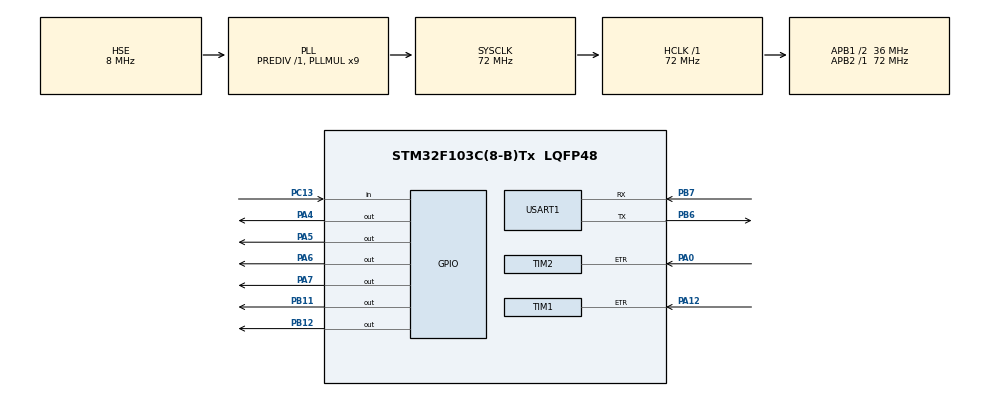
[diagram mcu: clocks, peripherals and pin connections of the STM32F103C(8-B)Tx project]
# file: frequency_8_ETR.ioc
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Mcu.Family=STM32F1
Mcu.Name=STM32F103C(8-B)Tx
Mcu.Package=LQFP48
NVIC.PriorityGroup=NVIC_PRIORITYGROUP_4
NVIC.TIM1_UP_IRQn=true\:0\:0\:false\:false\:true\:true\:true\:true
NVIC.TIM2_IRQn=true\:0\:0\:false\:false\:true\:true\:true\:true
NVIC.TIM3_IRQn=true\:0\:0\:false\:false\:true\:true\:true\:true
PA0-WKUP.Signal=S_TIM2_CH1_ETR
PA12.Signal=S_TIM1_ETR
PA13.Mode=Serial_Wire
PA13.Signal=SYS_JTMS-SWDIO
PA14.Mode=Serial_Wire
PA14.Signal=SYS_JTCK-SWCLK
PA4.Signal=GPIO_Output
PA5.Signal=GPIO_Output
PA6.Signal=GPIO_Output
PA7.Signal=GPIO_Output
PB11.Signal=GPIO_Output
PB12.Signal=GPIO_Output
PB6.Mode=Asynchronous
PB6.Signal=USART1_TX
PB7.Mode=Asynchronous
PB7.Signal=USART1_RX
PC13-TAMPER-RTC.GPIO_PuPd=GPIO_PULLUP
PC13-TAMPER-RTC.Signal=GPIO_Input
PD0-OSC_IN.Mode=HSE-External-Oscillator
PD0-OSC_IN.Signal=RCC_OSC_IN
PD1-OSC_OUT.Mode=HSE-External-Oscillator
PD1-OSC_OUT.Signal=RCC_OSC_OUT
ProjectManager.HeapSize=0x200
ProjectManager.StackSize=0x400
ProjectManager.TargetToolchain=STM32CubeIDE
RCC.AHBFreq_Value=72000000
RCC.APB1CLKDivider=RCC_HCLK_DIV2
RCC.APB1Freq_Value=36000000
RCC.APB1TimFreq_Value=72000000
RCC.APB2Freq_Value=72000000
RCC.APB2TimFreq_Value=72000000
RCC.HCLKFreq_Value=72000000
RCC.PLLMUL=RCC_PLL_MUL9
RCC.PLLSourceVirtual=RCC_PLLSOURCE_HSE
RCC.SYSCLKFreq_VALUE=72000000
RCC.SYSCLKSource=RCC_SYSCLKSOURCE_PLLCLK
RCC.USBFreq_Value=72000000
SH.S_TIM1_ETR.0=TIM1_ETR,ClockSourceETR_Mode2
SH.S_TIM2_CH1_ETR.0=TIM2_ETR,ClockSourceETR_Mode2
TIM3.Period=999
TIM3.Prescaler=7199
TIM3.TIM_MasterOutputTrigger=TIM_TRGO_ENABLE
TIM3.TIM_MasterSlaveMode=TIM_MASTERSLAVEMODE_ENABLE
USART1.VirtualMode=VM_ASYNC
VP_TIM1_VS_ClockSourceITR.Mode=TriggerSource_ITR2
VP_TIM1_VS_ControllerModeGated.Mode=Gated Mode
VP_TIM2_VS_ClockSourceITR.Mode=TriggerSource_ITR2
VP_TIM2_VS_ControllerModeGated.Mode=Gated Mode
VP_TIM3_VS_ClockSourceINT.Mode=Internal
VP_TIM3_VS_OPM.Mode=OPM_bit
board=custom

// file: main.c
/* USER CODE BEGIN Header */
/**
  ******************************************************************************
  * @file           : main.c
  * @brief          : Main program body
  ******************************************************************************
  * @attention
  *
  * Copyright (c) 2025 STMicroelectronics.
  * All rights reserved.
  *
  * This software is licensed under terms that can be found in the LICENSE file
  * in the root directory of this software component.
  * If no LICENSE file comes with this software, it is provided AS-IS.
  *
  ******************************************************************************
  */
/* USER CODE END Header */
#include "main.h"

/* USER CODE BEGIN Includes */
#include "stdio.h"
#include "stdbool.h"

extern bool flag;
uint16_t i = 0;

uint16_t count_main = 0;
uint16_t count_over = 0;
uint32_t freq = 0;

uint16_t count_main2 = 0;
uint16_t count_over2 = 0;
uint32_t freq2 = 0;
uint32_t freq3 = 0;
uint32_t freq4 = 0;
/* USER CODE END Includes */

TIM_HandleTypeDef htim1;
TIM_HandleTypeDef htim2;
TIM_HandleTypeDef htim3;

UART_HandleTypeDef huart1;

/* USER CODE BEGIN PV */
uint8_t flag_pc13_press = 1;
uint32_t time_pc13_press = 0;
/* USER CODE END PV */

void SystemClock_Config(void);
static void MX_GPIO_Init(void);
static void MX_TIM1_Init(void);
static void MX_TIM2_Init(void);
static void MX_TIM3_Init(void);
static void MX_USART1_UART_Init(void);

int main(void)
{

  /* MCU Configuration--------------------------------------------------------*/

  /* Reset of all peripherals, Initializes the Flash interface and the Systick. */
  HAL_Init();

  /* Configure the system clock */
  SystemClock_Config();

  /* Initialize all configured peripherals */
  MX_GPIO_Init();
  MX_TIM1_Init();
  MX_TIM2_Init();
  MX_TIM3_Init();
  MX_USART1_UART_Init();

  /* Infinite loop */
  /* USER CODE BEGIN WHILE */
  while (1)
  {
	  if(HAL_GPIO_ReadPin(GPIOC, GPIO_PIN_13) == 0) // GPIO_PIN_RESET && flag_pc13_press
	      {
	        flag_pc13_press = 0;
	        // действие на нажатие
	        HAL_GPIO_WritePin(GPIOA, GPIO_PIN_4|GPIO_PIN_5|GPIO_PIN_6|GPIO_PIN_7, GPIO_PIN_RESET);
	        __HAL_TIM_CLEAR_FLAG(&htim1, TIM_SR_UIF);
	        __HAL_TIM_CLEAR_FLAG(&htim2, TIM_SR_UIF);
			__HAL_TIM_CLEAR_FLAG(&htim3, TIM_SR_UIF);
	        HAL_TIM_Base_Start_IT(&htim3);
	        HAL_TIM_Base_Start_IT(&htim2);
	        HAL_TIM_Base_Start_IT(&htim1);
	        time_pc13_press = HAL_GetTick();
	      }

	      if(!flag_pc13_press && (HAL_GetTick() - time_pc13_press) > 300)
	      {
	        flag_pc13_press = 1;
	      }
	  if (flag) {
	    flag = 0;
	    ///////////////////////// вывод инфы ///////////////////////////////
	    char str[96] = {0,};

	    snprintf(str, 96, "FREQUENCY_1: %lu Hz  FREQUENCY_2: %lu Hz  FREQUENCY_3: %lu Hz  FREQUENCY_4: %lu Hz\n", freq, freq2, freq3, freq4);
	    HAL_UART_Transmit(&huart1, (uint8_t*)str, strlen(str), 1000);
	    i = 0;
	    }
    /* USER CODE END WHILE */

  }
}

void SystemClock_Config(void)
{
  RCC_OscInitTypeDef RCC_OscInitStruct = {0};
  RCC_ClkInitTypeDef RCC_ClkInitStruct = {0};

  /** Initializes the RCC Oscillators according to the specified parameters
  * in the RCC_OscInitTypeDef structure.
  */
  RCC_OscInitStruct.OscillatorType = RCC_OSCILLATORTYPE_HSE;
  RCC_OscInitStruct.HSEState = RCC_HSE_ON;
  RCC_OscInitStruct.HSEPredivValue = RCC_HSE_PREDIV_DIV1;
  RCC_OscInitStruct.HSIState = RCC_HSI_ON;
  RCC_OscInitStruct.PLL.PLLState = RCC_PLL_ON;
  RCC_OscInitStruct.PLL.PLLSource = RCC_PLLSOURCE_HSE;
  RCC_OscInitStruct.PLL.PLLMUL = RCC_PLL_MUL9;
  if (HAL_RCC_OscConfig(&RCC_OscInitStruct) != HAL_OK)
  {
    Error_Handler();
  }

  /** Initializes the CPU, AHB and APB buses clocks
  */
  RCC_ClkInitStruct.ClockType = RCC_CLOCKTYPE_HCLK|RCC_CLOCKTYPE_SYSCLK
                              |RCC_CLOCKTYPE_PCLK1|RCC_CLOCKTYPE_PCLK2;
  RCC_ClkInitStruct.SYSCLKSource = RCC_SYSCLKSOURCE_PLLCLK;
  RCC_ClkInitStruct.AHBCLKDivider = RCC_SYSCLK_DIV1;
  RCC_ClkInitStruct.APB1CLKDivider = RCC_HCLK_DIV2;
  RCC_ClkInitStruct.APB2CLKDivider = RCC_HCLK_DIV1;

  if (HAL_RCC_ClockConfig(&RCC_ClkInitStruct, FLASH_LATENCY_2) != HAL_OK)
  {
    Error_Handler();
  }
}

static void MX_TIM1_Init(void)
{

  TIM_ClockConfigTypeDef sClockSourceConfig = {0};
  TIM_SlaveConfigTypeDef sSlaveConfig = {0};
  TIM_MasterConfigTypeDef sMasterConfig = {0};

  htim1.Instance = TIM1;
  htim1.Init.Prescaler = 0;
  htim1.Init.CounterMode = TIM_COUNTERMODE_UP;
  htim1.Init.Period = 65535;
  htim1.Init.ClockDivision = TIM_CLOCKDIVISION_DIV1;
  htim1.Init.RepetitionCounter = 0;
  htim1.Init.AutoReloadPreload = TIM_AUTORELOAD_PRELOAD_DISABLE;
  if (HAL_TIM_Base_Init(&htim1) != HAL_OK)
  {
    Error_Handler();
  }
  sClockSourceConfig.ClockSource = TIM_CLOCKSOURCE_ETRMODE2;
  sClockSourceConfig.ClockPolarity = TIM_CLOCKPOLARITY_NONINVERTED;
  sClockSourceConfig.ClockPrescaler = TIM_CLOCKPRESCALER_DIV1;
  sClockSourceConfig.ClockFilter = 0;
  if (HAL_TIM_ConfigClockSource(&htim1, &sClockSourceConfig) != HAL_OK)
  {
    Error_Handler();
  }
  sSlaveConfig.SlaveMode = TIM_SLAVEMODE_GATED;
  sSlaveConfig.InputTrigger = TIM_TS_ITR2;
  if (HAL_TIM_SlaveConfigSynchro(&htim1, &sSlaveConfig) != HAL_OK)
  {
    Error_Handler();
  }
  sMasterConfig.MasterOutputTrigger = TIM_TRGO_RESET;
  sMasterConfig.MasterSlaveMode = TIM_MASTERSLAVEMODE_DISABLE;
  if (HAL_TIMEx_MasterConfigSynchronization(&htim1, &sMasterConfig) != HAL_OK)
  {
    Error_Handler();
  }

}

static void MX_TIM2_Init(void)
{

  TIM_ClockConfigTypeDef sClockSourceConfig = {0};
  TIM_SlaveConfigTypeDef sSlaveConfig = {0};
  TIM_MasterConfigTypeDef sMasterConfig = {0};

  htim2.Instance = TIM2;
  htim2.Init.Prescaler = 0;
  htim2.Init.CounterMode = TIM_COUNTERMODE_UP;
  htim2.Init.Period = 65535;
  htim2.Init.ClockDivision = TIM_CLOCKDIVISION_DIV1;
  htim2.Init.AutoReloadPreload = TIM_AUTORELOAD_PRELOAD_DISABLE;
  if (HAL_TIM_Base_Init(&htim2) != HAL_OK)
  {
    Error_Handler();
  }
  sClockSourceConfig.ClockSource = TIM_CLOCKSOURCE_ETRMODE2;
  sClockSourceConfig.ClockPolarity = TIM_CLOCKPOLARITY_NONINVERTED;
  sClockSourceConfig.ClockPrescaler = TIM_CLOCKPRESCALER_DIV1;
  sClockSourceConfig.ClockFilter = 0;
  if (HAL_TIM_ConfigClockSource(&htim2, &sClockSourceConfig) != HAL_OK)
  {
    Error_Handler();
  }
  sSlaveConfig.SlaveMode = TIM_SLAVEMODE_GATED;
  sSlaveConfig.InputTrigger = TIM_TS_ITR2;
  if (HAL_TIM_SlaveConfigSynchro(&htim2, &sSlaveConfig) != HAL_OK)
  {
    Error_Handler();
  }
  sMasterConfig.MasterOutputTrigger = TIM_TRGO_RESET;
  sMasterConfig.MasterSlaveMode = TIM_MASTERSLAVEMODE_DISABLE;
  if (HAL_TIMEx_MasterConfigSynchronization(&htim2, &sMasterConfig) != HAL_OK)
  {
    Error_Handler();
  }

}

static void MX_TIM3_Init(void)
{

  TIM_ClockConfigTypeDef sClockSourceConfig = {0};
  TIM_MasterConfigTypeDef sMasterConfig = {0};

  htim3.Instance = TIM3;
  htim3.Init.Prescaler = 7199;
  htim3.Init.CounterMode = TIM_COUNTERMODE_UP;
  htim3.Init.Period = 999;
  htim3.Init.ClockDivision = TIM_CLOCKDIVISION_DIV1;
  htim3.Init.AutoReloadPreload = TIM_AUTORELOAD_PRELOAD_DISABLE;
  if (HAL_TIM_Base_Init(&htim3) != HAL_OK)
  {
    Error_Handler();
  }
  sClockSourceConfig.ClockSource = TIM_CLOCKSOURCE_INTERNAL;
  if (HAL_TIM_ConfigClockSource(&htim3, &sClockSourceConfig) != HAL_OK)
  {
    Error_Handler();
  }
  if (HAL_TIM_OnePulse_Init(&htim3, TIM_OPMODE_SINGLE) != HAL_OK)
  {
    Error_Handler();
  }
  sMasterConfig.MasterOutputTrigger = TIM_TRGO_ENABLE;
  sMasterConfig.MasterSlaveMode = TIM_MASTERSLAVEMODE_ENABLE;
  if (HAL_TIMEx_MasterConfigSynchronization(&htim3, &sMasterConfig) != HAL_OK)
  {
    Error_Handler();
  }

}

static void MX_USART1_UART_Init(void)
{

  huart1.Instance = USART1;
  huart1.Init.BaudRate = 115200;
  huart1.Init.WordLength = UART_WORDLENGTH_8B;
  huart1.Init.StopBits = UART_STOPBITS_1;
  huart1.Init.Parity = UART_PARITY_NONE;
  huart1.Init.Mode = UART_MODE_TX_RX;
  huart1.Init.HwFlowCtl = UART_HWCONTROL_NONE;
  huart1.Init.OverSampling = UART_OVERSAMPLING_16;
  if (HAL_UART_Init(&huart1) != HAL_OK)
  {
    Error_Handler();
  }

}

static void MX_GPIO_Init(void)
{
  GPIO_InitTypeDef GPIO_InitStruct = {0};

  /* GPIO Ports Clock Enable */
  __HAL_RCC_GPIOC_CLK_ENABLE();
  __HAL_RCC_GPIOD_CLK_ENABLE();
  __HAL_RCC_GPIOA_CLK_ENABLE();
  __HAL_RCC_GPIOB_CLK_ENABLE();

  /*Configure GPIO pin Output Level */
  HAL_GPIO_WritePin(GPIOA, GPIO_PIN_4|GPIO_PIN_5|GPIO_PIN_6|GPIO_PIN_7, GPIO_PIN_RESET);

  /*Configure GPIO pin Output Level */
  HAL_GPIO_WritePin(GPIOB, GPIO_PIN_11|GPIO_PIN_12, GPIO_PIN_RESET);

  /*Configure GPIO pin : PC13 */
  GPIO_InitStruct.Pin = GPIO_PIN_13;
  GPIO_InitStruct.Mode = GPIO_MODE_INPUT;
  GPIO_InitStruct.Pull = GPIO_PULLUP;
  HAL_GPIO_Init(GPIOC, &GPIO_InitStruct);

  /*Configure GPIO pins : PA4 PA5 PA6 PA7 */
  GPIO_InitStruct.Pin = GPIO_PIN_4|GPIO_PIN_5|GPIO_PIN_6|GPIO_PIN_7;
  GPIO_InitStruct.Mode = GPIO_MODE_OUTPUT_PP;
  GPIO_InitStruct.Pull = GPIO_NOPULL;
  GPIO_InitStruct.Speed = GPIO_SPEED_FREQ_LOW;
  HAL_GPIO_Init(GPIOA, &GPIO_InitStruct);

  /*Configure GPIO pins : PB11 PB12 */
  GPIO_InitStruct.Pin = GPIO_PIN_11|GPIO_PIN_12;
  GPIO_InitStruct.Mode = GPIO_MODE_OUTPUT_PP;
  GPIO_InitStruct.Pull = GPIO_NOPULL;
  GPIO_InitStruct.Speed = GPIO_SPEED_FREQ_LOW;
  HAL_GPIO_Init(GPIOB, &GPIO_InitStruct);

}

void Error_Handler(void)
{
  __disable_irq();
  while (1)
  {
  }
}
